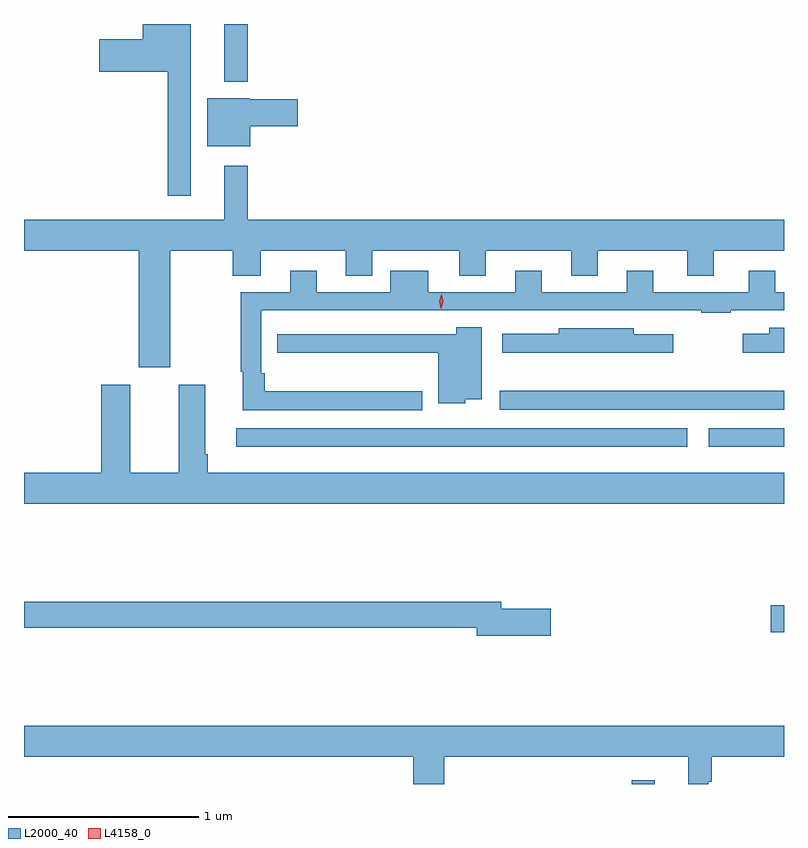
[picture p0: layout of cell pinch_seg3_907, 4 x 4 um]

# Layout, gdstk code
import gdstk
lib = gdstk.Library(unit=1e-6, precision=1e-09)
def R(c, l, rs):  # rectangles x0, y0, x1, y1
    for r in rs: c.add(gdstk.rectangle(r[:2], r[2:], *l))
def P(c, l, *ps):  # polygons
    for p in ps: c.add(gdstk.Polygon(p, *l))
L2000_40 = (2000, 40)
L4158_0 = (4158, 0)

pinch_seg3_907 = lib.new_cell('pinch_seg3_907')
R(pinch_seg3_907, L2000_40, [(797.304,667.473,797.425,667.492), (798.036,668.272,798.106,668.414), (795.222,669.248,797.596,669.345), (797.709,669.248,798.106,669.345), (796.611,669.444,798.106,669.542), (795.161,671.168,795.283,671.473)])
P(pinch_seg3_907, L2000_40, [(794.983,671.473),(794.732,671.473),(794.732,671.392),(794.502,671.392),(794.502,671.222),(794.862,671.222),(794.862,670.569),(794.983,670.569)],
  [(795.298,670.936),(795.547,670.936),(795.547,671.078),(795.294,671.078),(795.294,671.083),(795.071,671.083),(795.071,670.829),(795.298,670.829)],
  [(794.875,670.28),(795.205,670.28),(795.205,670.147),(795.352,670.147),(795.352,670.28),(795.8,670.28),(795.8,670.147),(795.94,670.147),(795.94,670.28),(796.397,670.28),(796.397,670.147),(796.537,670.147),(796.537,670.28),(796.985,670.28),(796.985,670.147),(797.125,670.147),(797.125,670.28),(797.597,670.28),(797.597,670.147),(797.737,670.147),(797.737,670.28),(798.106,670.28),(798.106,670.444),(795.283,670.444),(795.283,670.726),(795.161,670.726),(795.161,670.444),(794.106,670.444),(794.106,670.28),(794.711,670.28),(794.711,669.666),(794.875,669.666)],
  [(796.201,669.539),(795.374,669.539),(795.374,669.634),(795.354,669.634),(795.354,669.966),(797.67,669.966),(797.67,669.954),(797.825,669.954),(797.825,669.966),(798.106,669.966),(798.106,670.062),(798.061,670.062),(798.061,670.174),(797.921,670.174),(797.921,670.062),(797.419,670.062),(797.419,670.174),(797.279,670.174),(797.279,670.062),(796.831,670.062),(796.831,670.174),(796.691,670.174),(796.691,670.062),(796.234,670.062),(796.234,670.174),(796.034,670.174),(796.034,670.062),(795.646,670.062),(795.646,670.174),(795.506,670.174),(795.506,670.062),(795.246,670.062),(795.246,669.644),(795.257,669.644),(795.257,669.441),(796.201,669.441)],
  [(796.428,669.497),(796.516,669.497),(796.516,669.877),(796.382,669.877),(796.382,669.84),(795.55,669.84),(795.55,669.839),(795.439,669.839),(795.439,669.743),(796.286,669.743),(796.286,669.476),(796.428,669.476)],
  [(798.106,669.874),(798.029,669.874),(798.029,669.844),(797.889,669.844),(797.889,669.743),(798.106,669.743)],
  [(797.524,669.84),(797.314,669.84),(797.314,669.871),(796.92,669.871),(796.92,669.844),(796.623,669.844),(796.623,669.743),(797.524,669.743)],
  [(798.106,669.112),(795.074,669.112),(795.074,669.208),(795.061,669.208),(795.061,669.574),(794.921,669.574),(794.921,669.112),(794.665,669.112),(794.665,669.574),(794.513,669.574),(794.513,669.112),(794.106,669.112),(794.106,668.948),(798.106,668.948)],
  [(796.879,668.396),(796.618,668.396),(796.618,668.432),(794.106,668.432),(794.106,668.296),(796.49,668.296),(796.49,668.254),(796.879,668.254)],
  [(796.318,667.616),(797.603,667.616),(797.603,667.473),(797.707,667.473),(797.707,667.484),(797.725,667.484),(797.725,667.616),(798.106,667.616),(798.106,667.78),(794.106,667.78),(794.106,667.616),(796.154,667.616),(796.154,667.473),(796.318,667.473)])
P(pinch_seg3_907, L4158_0, [(796.3,669.978),(796.3,669.978),(796.292,670.014),(796.303,670.049),(796.303,670.049),(796.304,670.049),(796.312,670.013),(796.301,669.978)])

lib.write_gds('pinch_seg3_907.gds')
